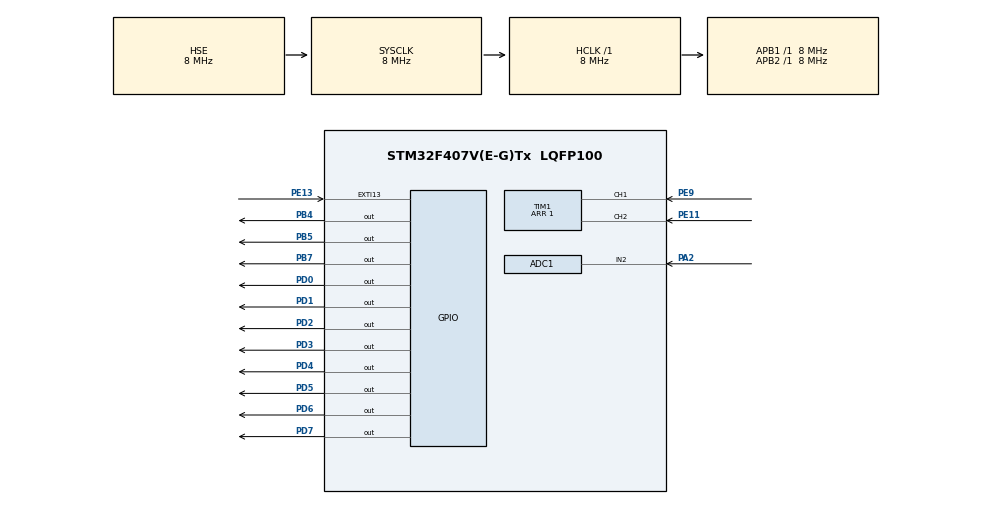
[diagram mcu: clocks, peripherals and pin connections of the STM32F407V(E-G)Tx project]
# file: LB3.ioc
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ADC1.Channel-1\#ChannelRegularConversion=ADC_CHANNEL_2
ADC1.ContinuousConvMode=DISABLE
ADC1.DMAContinuousRequests=ENABLE
ADC1.ExternalTrigConv=ADC_SOFTWARE_START
ADC1.NbrOfConversionFlag=1
ADC1.Rank-1\#ChannelRegularConversion=1
ADC1.SamplingTime-1\#ChannelRegularConversion=ADC_SAMPLETIME_480CYCLES
ADC1.ScanConvMode=DISABLE
ADC1.master=1
Dma.ADC1.0.Direction=DMA_PERIPH_TO_MEMORY
Dma.ADC1.0.FIFOMode=DMA_FIFOMODE_DISABLE
Dma.ADC1.0.Instance=DMA2_Stream0
Dma.ADC1.0.MemDataAlignment=DMA_MDATAALIGN_HALFWORD
Dma.ADC1.0.MemInc=DMA_MINC_DISABLE
Dma.ADC1.0.Mode=DMA_CIRCULAR
Dma.ADC1.0.PeriphDataAlignment=DMA_PDATAALIGN_HALFWORD
Dma.ADC1.0.PeriphInc=DMA_PINC_DISABLE
Dma.ADC1.0.Priority=DMA_PRIORITY_LOW
Dma.Request0=ADC1
Mcu.Family=STM32F4
Mcu.Name=STM32F407V(E-G)Tx
Mcu.Package=LQFP100
NVIC.DMA2_Stream0_IRQn=true\:8\:0\:true\:false\:true\:false\:true\:true
NVIC.EXTI15_10_IRQn=true\:7\:0\:true\:false\:true\:true\:true\:true
NVIC.PriorityGroup=NVIC_PRIORITYGROUP_4
PA2.Signal=ADCx_IN2
PB4.Signal=GPIO_Output
PB5.Signal=GPIO_Output
PB7.Signal=GPIO_Output
PD0.Signal=GPIO_Output
PD1.Signal=GPIO_Output
PD2.Signal=GPIO_Output
PD3.Signal=GPIO_Output
PD4.Signal=GPIO_Output
PD5.Signal=GPIO_Output
PD6.Signal=GPIO_Output
PD7.Signal=GPIO_Output
PE11.Signal=S_TIM1_CH2
PE13.GPIO_ModeDefaultEXTI=GPIO_MODE_IT_FALLING
PE13.Signal=GPXTI13
PE9.Signal=S_TIM1_CH1
PH0-OSC_IN.Mode=HSE-External-Oscillator
PH0-OSC_IN.Signal=RCC_OSC_IN
PH1-OSC_OUT.Mode=HSE-External-Oscillator
PH1-OSC_OUT.Signal=RCC_OSC_OUT
ProjectManager.HeapSize=0x000
ProjectManager.StackSize=0x200
ProjectManager.TargetToolchain=STM32CubeIDE
RCC.48MHZClocksFreq_Value=48000000
RCC.AHBFreq_Value=8000000
RCC.APB1Freq_Value=8000000
RCC.APB1TimFreq_Value=8000000
RCC.APB2Freq_Value=8000000
RCC.APB2TimFreq_Value=8000000
RCC.CortexFreq_Value=8000000
RCC.HCLKFreq_Value=8000000
RCC.HSE_VALUE=8000000
RCC.HSI_VALUE=16000000
RCC.LSE_VALUE=32768
RCC.SYSCLKFreq_VALUE=8000000
RCC.SYSCLKSource=RCC_SYSCLKSOURCE_HSE
RCC.VCOOutputFreq_Value=192000000
SH.ADCx_IN2.0=ADC1_IN2,IN2
SH.S_TIM1_CH1.0=TIM1_CH1,Encoder_Interface
SH.S_TIM1_CH2.0=TIM1_CH2,Encoder_Interface
TIM1.EncoderMode=TIM_ENCODERMODE_TI1
TIM1.IC1Filter=10
TIM1.IC1Polarity=TIM_ICPOLARITY_FALLING
TIM1.IC2Filter=10
TIM1.Period=1
board=custom

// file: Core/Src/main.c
/* USER CODE BEGIN Header */
/**
  ******************************************************************************
  * @file           : main.c
  * @brief          : Main program body
  ******************************************************************************
  * @attention
  *
  * Copyright (c) 2023 STMicroelectronics.
  * All rights reserved.
  *
  * This software is licensed under terms that can be found in the LICENSE file
  * in the root directory of this software component.
  * If no LICENSE file comes with this software, it is provided AS-IS.
  *
  ******************************************************************************
  */
/* USER CODE END Header */
#include "main.h"

ADC_HandleTypeDef hadc1;
DMA_HandleTypeDef hdma_adc1;

TIM_HandleTypeDef htim1;

/* USER CODE BEGIN PV */
Lcd_PortType LCDPT[]={GPIOD,GPIOD,GPIOD,GPIOD,GPIOD,GPIOD,GPIOD,GPIOD};
Lcd_PinType LCDPINT[]  = {GPIO_PIN_0,GPIO_PIN_1,GPIO_PIN_2,GPIO_PIN_3,GPIO_PIN_4, GPIO_PIN_5, GPIO_PIN_6,GPIO_PIN_7};
Lcd_HandleTypeDef Display;

char LCD_DATA[17]={};

uint8_t UC[6][8] = {
		{ 0x00, 0x00, 0x00, 0x00, 0x00, 0x00, 0x00, 0x00 },
		{ 0x10, 0x10, 0x10, 0x10, 0x10, 0x10, 0x10, 0x10 },
		{ 0x18, 0x18, 0x18, 0x18, 0x18, 0x18, 0x18, 0x18 },
		{ 0x1C, 0x1C, 0x1C, 0x1C, 0x1C, 0x1C, 0x1C, 0x1C },
		{ 0x1E, 0x1E, 0x1E, 0x1E, 0x1E, 0x1E, 0x1E, 0x1E },
		{ 0x1F,	0x1F, 0x1F, 0x1F, 0x1F, 0x1F, 0x1F, 0x1F }
};

uint8_t Menu=0;
uint16_t Measured, Measured_AVG=0;
/* USER CODE END PV */

void SystemClock_Config(void);
static void MX_GPIO_Init(void);
static void MX_DMA_Init(void);
static void MX_TIM1_Init(void);
static void MX_ADC1_Init(void);

int main(void)
{

  /* MCU Configuration--------------------------------------------------------*/

  /* Reset of all peripherals, Initializes the Flash interface and the Systick. */
  HAL_Init();

  /* Configure the system clock */
  SystemClock_Config();

  /* Initialize all configured peripherals */
  MX_GPIO_Init();
  MX_DMA_Init();
  MX_TIM1_Init();
  MX_ADC1_Init();
  /* USER CODE BEGIN 2 */

	Display = Lcd_create(LCDPT, LCDPINT, GPIOB, GPIO_PIN_7, GPIOB, GPIO_PIN_5, LCD_8_BIT_MODE);

	Lcd_init(&Display);
	HAL_Delay(10);

	for (int i = 0; i < 6; i++)
		Lcd_define_char(&Display, i, UC[i]);

  /* USER CODE END 2 */

  /* Infinite loop */
  /* USER CODE BEGIN WHILE */
  while (1)
  {
	  if((Menu&0x0F)==1)
	  {
		  switch(__HAL_TIM_GET_COUNTER(&htim1))
		  {
		  case 0:
			  sprintf(LCD_DATA, "GRAPH           ");
			  break;
		  case 1:
			  sprintf(LCD_DATA,"VALUE           ");
			  break;
		  default:
			  sprintf(LCD_DATA,"ERROR           ");
			  break;
		  }
	  }
	  else
	  {
		  switch(Menu>>4)
		  {
		  case 0:
			  Draw_Graph(Measured_AVG);
			  break;
		  case 1:
			  Draw_Value_In_Volts(Measured_AVG);
			  break;
		  default:
			  sprintf(LCD_DATA,"ERROR           ");
			  break;
		  }
	  }

		Lcd_Print_Array(LCD_DATA);
		HAL_ADC_Start_DMA(&hadc1, &Measured, 1);
		Average(Measured);

    /* USER CODE END WHILE */

  }
}

void SystemClock_Config(void)
{
  RCC_OscInitTypeDef RCC_OscInitStruct = {0};
  RCC_ClkInitTypeDef RCC_ClkInitStruct = {0};

  /** Configure the main internal regulator output voltage
  */
  __HAL_RCC_PWR_CLK_ENABLE();
  __HAL_PWR_VOLTAGESCALING_CONFIG(PWR_REGULATOR_VOLTAGE_SCALE1);

  /** Initializes the RCC Oscillators according to the specified parameters
  * in the RCC_OscInitTypeDef structure.
  */
  RCC_OscInitStruct.OscillatorType = RCC_OSCILLATORTYPE_HSE;
  RCC_OscInitStruct.HSEState = RCC_HSE_ON;
  RCC_OscInitStruct.PLL.PLLState = RCC_PLL_NONE;
  if (HAL_RCC_OscConfig(&RCC_OscInitStruct) != HAL_OK)
  {
    Error_Handler();
  }

  /** Initializes the CPU, AHB and APB buses clocks
  */
  RCC_ClkInitStruct.ClockType = RCC_CLOCKTYPE_HCLK|RCC_CLOCKTYPE_SYSCLK
                              |RCC_CLOCKTYPE_PCLK1|RCC_CLOCKTYPE_PCLK2;
  RCC_ClkInitStruct.SYSCLKSource = RCC_SYSCLKSOURCE_HSE;
  RCC_ClkInitStruct.AHBCLKDivider = RCC_SYSCLK_DIV1;
  RCC_ClkInitStruct.APB1CLKDivider = RCC_HCLK_DIV1;
  RCC_ClkInitStruct.APB2CLKDivider = RCC_HCLK_DIV1;

  if (HAL_RCC_ClockConfig(&RCC_ClkInitStruct, FLASH_LATENCY_0) != HAL_OK)
  {
    Error_Handler();
  }
}

static void MX_ADC1_Init(void)
{

  ADC_ChannelConfTypeDef sConfig = {0};

  /** Configure the global features of the ADC (Clock, Resolution, Data Alignment and number of conversion)
  */
  hadc1.Instance = ADC1;
  hadc1.Init.ClockPrescaler = ADC_CLOCK_SYNC_PCLK_DIV2;
  hadc1.Init.Resolution = ADC_RESOLUTION_12B;
  hadc1.Init.ScanConvMode = DISABLE;
  hadc1.Init.ContinuousConvMode = DISABLE;
  hadc1.Init.DiscontinuousConvMode = DISABLE;
  hadc1.Init.ExternalTrigConvEdge = ADC_EXTERNALTRIGCONVEDGE_NONE;
  hadc1.Init.ExternalTrigConv = ADC_SOFTWARE_START;
  hadc1.Init.DataAlign = ADC_DATAALIGN_RIGHT;
  hadc1.Init.NbrOfConversion = 1;
  hadc1.Init.DMAContinuousRequests = ENABLE;
  hadc1.Init.EOCSelection = ADC_EOC_SINGLE_CONV;
  if (HAL_ADC_Init(&hadc1) != HAL_OK)
  {
    Error_Handler();
  }

  /** Configure for the selected ADC regular channel its corresponding rank in the sequencer and its sample time.
  */
  sConfig.Channel = ADC_CHANNEL_2;
  sConfig.Rank = 1;
  sConfig.SamplingTime = ADC_SAMPLETIME_480CYCLES;
  if (HAL_ADC_ConfigChannel(&hadc1, &sConfig) != HAL_OK)
  {
    Error_Handler();
  }

}

static void MX_TIM1_Init(void)
{

  TIM_Encoder_InitTypeDef sConfig = {0};
  TIM_MasterConfigTypeDef sMasterConfig = {0};

  htim1.Instance = TIM1;
  htim1.Init.Prescaler = 0;
  htim1.Init.CounterMode = TIM_COUNTERMODE_UP;
  htim1.Init.Period = 1;
  htim1.Init.ClockDivision = TIM_CLOCKDIVISION_DIV1;
  htim1.Init.RepetitionCounter = 0;
  htim1.Init.AutoReloadPreload = TIM_AUTORELOAD_PRELOAD_DISABLE;
  sConfig.EncoderMode = TIM_ENCODERMODE_TI1;
  sConfig.IC1Polarity = TIM_ICPOLARITY_FALLING;
  sConfig.IC1Selection = TIM_ICSELECTION_DIRECTTI;
  sConfig.IC1Prescaler = TIM_ICPSC_DIV1;
  sConfig.IC1Filter = 10;
  sConfig.IC2Polarity = TIM_ICPOLARITY_RISING;
  sConfig.IC2Selection = TIM_ICSELECTION_DIRECTTI;
  sConfig.IC2Prescaler = TIM_ICPSC_DIV1;
  sConfig.IC2Filter = 10;
  if (HAL_TIM_Encoder_Init(&htim1, &sConfig) != HAL_OK)
  {
    Error_Handler();
  }
  sMasterConfig.MasterOutputTrigger = TIM_TRGO_RESET;
  sMasterConfig.MasterSlaveMode = TIM_MASTERSLAVEMODE_DISABLE;
  if (HAL_TIMEx_MasterConfigSynchronization(&htim1, &sMasterConfig) != HAL_OK)
  {
    Error_Handler();
  }

}

static void MX_DMA_Init(void)
{

  /* DMA controller clock enable */
  __HAL_RCC_DMA2_CLK_ENABLE();

  /* DMA interrupt init */
  /* DMA2_Stream0_IRQn interrupt configuration */
  HAL_NVIC_SetPriority(DMA2_Stream0_IRQn, 8, 0);
  HAL_NVIC_EnableIRQ(DMA2_Stream0_IRQn);

}

static void MX_GPIO_Init(void)
{
  GPIO_InitTypeDef GPIO_InitStruct = {0};

  /* GPIO Ports Clock Enable */
  __HAL_RCC_GPIOH_CLK_ENABLE();
  __HAL_RCC_GPIOA_CLK_ENABLE();
  __HAL_RCC_GPIOE_CLK_ENABLE();
  __HAL_RCC_GPIOD_CLK_ENABLE();
  __HAL_RCC_GPIOB_CLK_ENABLE();

  /*Configure GPIO pin Output Level */
  HAL_GPIO_WritePin(GPIOD, GPIO_PIN_0|GPIO_PIN_1|GPIO_PIN_2|GPIO_PIN_3
                          |GPIO_PIN_4|GPIO_PIN_5|GPIO_PIN_6|GPIO_PIN_7, GPIO_PIN_RESET);

  /*Configure GPIO pin Output Level */
  HAL_GPIO_WritePin(GPIOB, GPIO_PIN_4|GPIO_PIN_5|GPIO_PIN_7, GPIO_PIN_RESET);

  /*Configure GPIO pin : PE13 */
  GPIO_InitStruct.Pin = GPIO_PIN_13;
  GPIO_InitStruct.Mode = GPIO_MODE_IT_FALLING;
  GPIO_InitStruct.Pull = GPIO_NOPULL;
  HAL_GPIO_Init(GPIOE, &GPIO_InitStruct);

  /*Configure GPIO pins : PD0 PD1 PD2 PD3
                           PD4 PD5 PD6 PD7 */
  GPIO_InitStruct.Pin = GPIO_PIN_0|GPIO_PIN_1|GPIO_PIN_2|GPIO_PIN_3
                          |GPIO_PIN_4|GPIO_PIN_5|GPIO_PIN_6|GPIO_PIN_7;
  GPIO_InitStruct.Mode = GPIO_MODE_OUTPUT_PP;
  GPIO_InitStruct.Pull = GPIO_NOPULL;
  GPIO_InitStruct.Speed = GPIO_SPEED_FREQ_LOW;
  HAL_GPIO_Init(GPIOD, &GPIO_InitStruct);

  /*Configure GPIO pins : PB4 PB5 PB7 */
  GPIO_InitStruct.Pin = GPIO_PIN_4|GPIO_PIN_5|GPIO_PIN_7;
  GPIO_InitStruct.Mode = GPIO_MODE_OUTPUT_PP;
  GPIO_InitStruct.Pull = GPIO_NOPULL;
  GPIO_InitStruct.Speed = GPIO_SPEED_FREQ_LOW;
  HAL_GPIO_Init(GPIOB, &GPIO_InitStruct);

  /* EXTI interrupt init*/
  HAL_NVIC_SetPriority(EXTI15_10_IRQn, 7, 0);
  HAL_NVIC_EnableIRQ(EXTI15_10_IRQn);

}

/* USER CODE BEGIN 4 */
void Draw_Graph(uint16_t Val)
{
	uint8_t Int_Part;
	uint8_t Frac_Part;
	Val/=52;
	Int_Part=Val/5;
	Frac_Part=Val%5;

	for(int i=0;i<Int_Part;i++)
	{
		LCD_DATA[i]=5;
	}
	LCD_DATA[Int_Part] = Frac_Part;
	for(int i=Int_Part+1;i<16;i++)
	{
		LCD_DATA[i]=0;
	}
	//Lcd_Print_Array(LCD_DATA);
}

void Draw_Value_In_Volts(uint16_t Val)
{
	float Volts;
	Volts = ((float)Val*AREF)/0x0FFF;
	sprintf(LCD_DATA,"VOLTAGE: %.4f",Volts);
}

void Lcd_Print_Array(char* arr)
{
	for (int i = 0; i < 8; i++)
	{
		lcd_write_data(&Display, arr[i]);
	}
	Lcd_cursor(&Display, 1, 0);
	for (int i = 0; i < 8; i++)
	{
		lcd_write_data(&Display, arr[i+8]);
	}
	Lcd_cursor(&Display, 0, 0);
}

void Average(uint16_t Val)
{
	static uint16_t old_avg=0;
	Val=(old_avg*2+Val)/3;
	Measured_AVG=old_avg=Val;
}
/* USER CODE END 4 */

void Error_Handler(void)
{
  __disable_irq();
  while (1)
  {
  }
}
